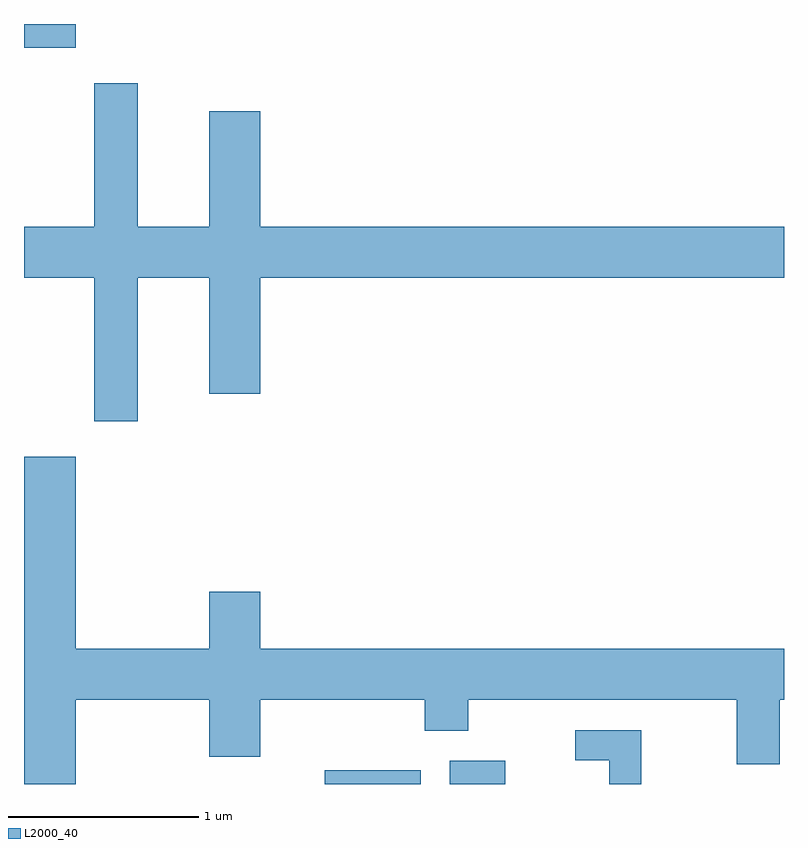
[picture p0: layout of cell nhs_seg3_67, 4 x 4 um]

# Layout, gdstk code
import gdstk
lib = gdstk.Library(unit=1e-6, precision=1e-09)
def R(c, l, rs):  # rectangles x0, y0, x1, y1
    for r in rs: c.add(gdstk.rectangle(r[:2], r[2:], *l))
def P(c, l, *ps):  # polygons
    for p in ps: c.add(gdstk.Polygon(p, *l))
L2000_40 = (2000, 40)

nhs_seg3_67 = lib.new_cell('nhs_seg3_67')
R(nhs_seg3_67, L2000_40, [(187.193,1249.892,187.699,1249.964), (187.851,1249.892,188.144,1250.014), (185.611,1253.766,185.884,1253.892)])
P(nhs_seg3_67, L2000_40, [(186.209,1252.556),(186.586,1252.556),(186.586,1251.946),(186.854,1251.946),(186.854,1252.556),(189.611,1252.556),(189.611,1252.824),(186.854,1252.824),(186.854,1253.434),(186.586,1253.434),(186.586,1252.824),(186.209,1252.824),(186.209,1253.579),(185.981,1253.579),(185.981,1252.824),(185.611,1252.824),(185.611,1252.556),(185.981,1252.556),(185.981,1251.801),(186.209,1251.801)],
  [(185.884,1250.336),(186.586,1250.336),(186.586,1250.036),(186.854,1250.036),(186.854,1250.336),(187.721,1250.336),(187.721,1250.171),(187.949,1250.171),(187.949,1250.336),(189.361,1250.336),(189.361,1249.996),(189.589,1249.996),(189.589,1250.336),(189.611,1250.336),(189.611,1250.604),(186.854,1250.604),(186.854,1250.904),(186.586,1250.904),(186.586,1250.604),(185.884,1250.604),(185.884,1251.614),(185.611,1251.614),(185.611,1249.892),(185.884,1249.892)],
  [(188.859,1250.174),(188.513,1250.174),(188.513,1250.016),(188.691,1250.016),(188.691,1249.892),(188.859,1249.892)])

lib.write_gds('nhs_seg3_67.gds')
